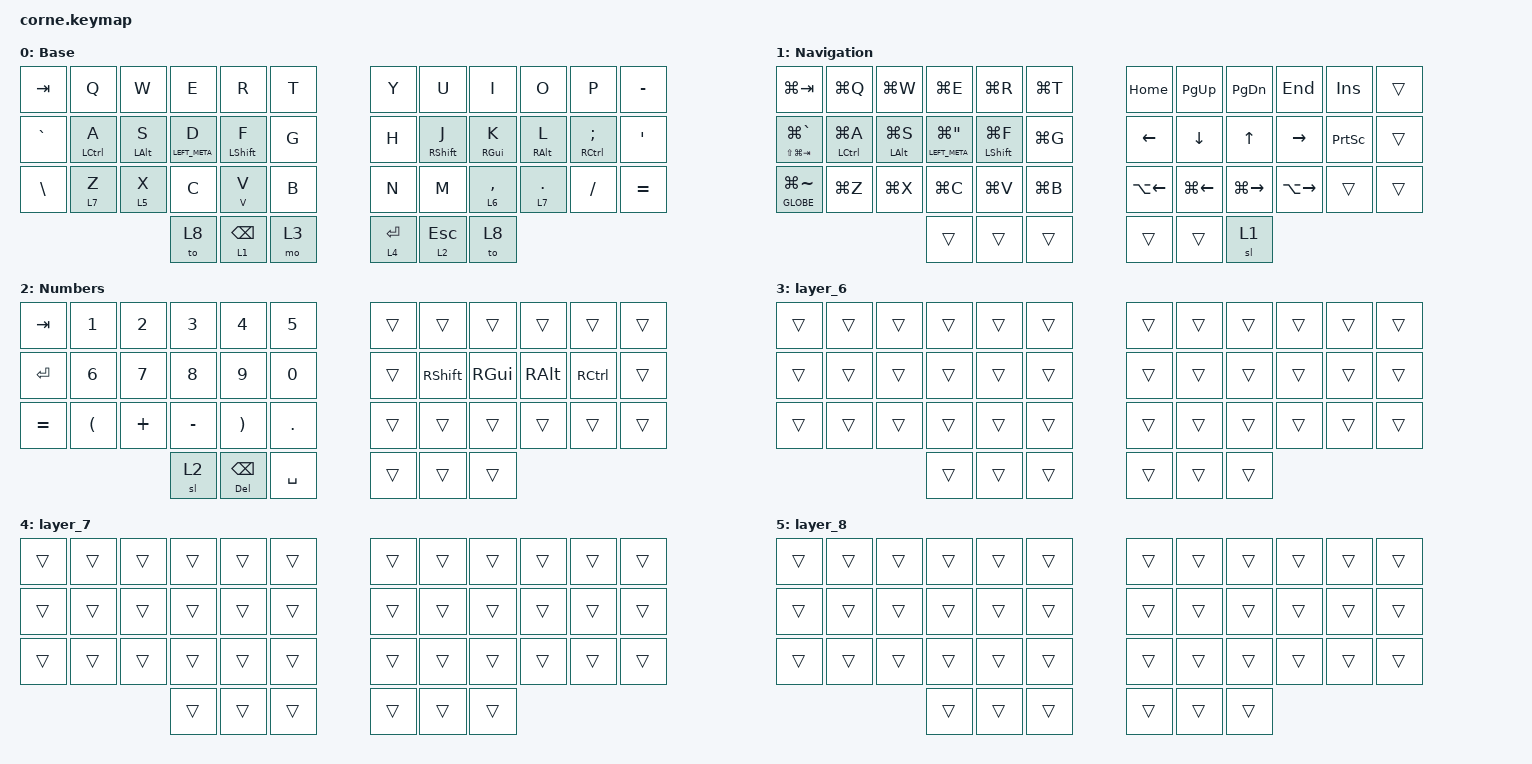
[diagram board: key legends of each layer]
/*
 * Copyright (c) 2020 The ZMK Contributors
 *
 * SPDX-License-Identifier: MIT
 */

#include <behaviors.dtsi>
#include <dt-bindings/zmk/keys.h>

/ {
    macros {
        as: as {
            compatible = "zmk,behavior-macro-one-param";
            #binding-cells = <1>;
            bindings =
                <&macro_press>,
                <&macro_param_1to1 &macro_param_1to2 &auto_shift MACRO_PLACEHOLDER MACRO_PLACEHOLDER>,
                <&macro_pause_for_release>,
                <&macro_release>,
                <&macro_param_1to1 &macro_param_1to2 &auto_shift MACRO_PLACEHOLDER MACRO_PLACEHOLDER>;

            label = "AS";
        };

        shifted: shifted {
            compatible = "zmk,behavior-macro-one-param";
            #binding-cells = <1>;
            bindings =
                <&macro_press>,
                <&kp LEFT_SHIFT>,
                <&macro_tap>,
                <&macro_param_1to1 &kp MACRO_PLACEHOLDER>,
                <&macro_release>,
                <&kp LEFT_SHIFT>;

            label = "SHIFTED";
        };
    };

    behaviors {
        hml: hml {
            compatible = "zmk,behavior-hold-tap";
            label = "HML";
            bindings = <&kp>, <&kp>;

            #binding-cells = <2>;
            hold-trigger-key-positions = <20 21 22 6 7 9 10 18 19 20 21 22 30 31 32 33 34 8 36 37 38 39 40 41>;
            tapping-term-ms = <200>;
            quick-tap-ms = <175>;
            require-prior-idle-ms = <150>;
            flavor = "balanced";
            hold-trigger-on-release;
        };

        hml_shift: hml_shift {
            compatible = "zmk,behavior-hold-tap";
            label = "HML_SHIFT";
            bindings = <&kp>, <&kp>;

            #binding-cells = <2>;
            tapping-term-ms = <200>;
            quick-tap-ms = <175>;
            flavor = "balanced";
            hold-trigger-on-release;
            hold-trigger-key-positions = <37 38 36 30 31 39 40 41 6 7 8 9 10 18 19 20 21 22 30 31 32 33 34 40 41>;
        };

        hmr: hmr {
            compatible = "zmk,behavior-hold-tap";
            label = "HMR";
            bindings = <&kp>, <&kp>;

            #binding-cells = <2>;
            tapping-term-ms = <200>;
            require-prior-idle-ms = <150>;
            quick-tap-ms = <175>;
            flavor = "balanced";
            hold-trigger-on-release;
            hold-trigger-key-positions = <1 2 3 4 5 13 14 15 16 17 25 26 28 29 36 37 38 27 39 40 41>;
        };

        hmr_shift: hmr_shift {
            compatible = "zmk,behavior-hold-tap";
            label = "HMR_SHIFT";
            bindings = <&kp>, <&kp>;

            #binding-cells = <2>;
            tapping-term-ms = <200>;
            quick-tap-ms = <175>;
            flavor = "balanced";
            hold-trigger-on-release;
            hold-trigger-key-positions = <37 38 36 39 40 41 40 41 1 5 13 14 15 16 17 25 26 27 28 29 36 37 38 2 3 4 40 41 40 41>;
        };

        auto_shift: auto_shift {
            compatible = "zmk,behavior-hold-tap";
            label = "AUTO_SHIFT";
            bindings = <&shifted>, <&kp>;

            #binding-cells = <2>;
            tapping-term-ms = <135>;
            quick-tap-ms = <0>;
            flavor = "tap-preferred";
        };

        bs_del: bs_del {
            compatible = "zmk,behavior-hold-tap";
            label = "BS_DEL";
            bindings = <&lt>, <&mt>;

            #binding-cells = <2>;
            tapping-term-ms = <175>;
            flavor = "tap-preferred";
        };
    };

    keymap {
        compatible = "zmk,keymap";

        base {
            // -----------------------------------------------------------------------------------------
            // |  TAB |  Q  |  W  |  E  |  R  |  T  |   |  Y  |  U   |  I  |  O  |  P  | BKSP |
            // | CTRL |  A  |  S  |  D  |  F  |  G  |   |  H  |  J   |  K  |  L  |  ;  |  '   |
            // | SHFT |  Z  |  X  |  C  |  V  |  B  |   |  N  |  M   |  ,  |  .  |  /  | ESC  |
            //                    | GUI | LWR | SPC |   | ENT | RSE  | ALT |

            display-name = "Base";
            bindings = <
&kp TAB        &kp Q         &kp W            &kp E             &kp R                    &kp T    &kp Y        &kp U               &kp I             &kp O             &kp P            &kp MINUS
&kp GRAVE      &hml LCTRL A  &hml LEFT_ALT S  &hml LEFT_META D  &hml_shift LEFT_SHIFT F  &kp G    &kp H        &hmr RIGHT_SHIFT J  &hmr RIGHT_GUI K  &hmr RIGHT_ALT L  &hmr RCTRL SEMI  &kp SQT
&kp BACKSLASH  &lt 7 Z       &lt 5 X          &kp C             &auto_shift V V          &kp B    &kp N        &kp M               &lt 6 COMMA       &lt 7 PERIOD      &kp FSLH         &kp EQUAL
                                              &to 8             &lt 1 BACKSPACE          &mo 3    &lt 4 ENTER  &lt 2 ESCAPE        &to 8
            >;
        };

        navigation {
            // -----------------------------------------------------------------------------------------
            // |  TAB |  1  |  2  |  3  |  4  |  5  |   |  6  |  7  |  8  |  9  |  0  | BKSP |
            // | BTCLR| BT1 | BT2 | BT3 | BT4 | BT5 |   | LFT | DWN |  UP | RGT |     |      |
            // | SHFT |     |     |     |     |     |   |     |     |     |     |     |      |
            //                    | GUI |     | SPC |   | ENT |     | ALT |

            display-name = "Navigation";
            bindings = <
&kp LG(TAB)                &kp LG(Q)         &kp LG(W)            &kp LG(E)               &kp LG(R)              &kp LG(T)    &kp HOME      &kp PAGE_UP   &kp PAGE_DOWN  &kp END        &kp INSERT       &trans
&mt LS(LG(TAB)) LG(GRAVE)  &hml LCTRL LG(A)  &hml LEFT_ALT LG(S)  &hml LEFT_META LG(DQT)  &hml LEFT_SHIFT LG(F)  &kp LG(G)    &kp LEFT      &kp DOWN      &kp UP         &kp RIGHT      &kp PRINTSCREEN  &trans
&mt GLOBE LG(TILDE)        &kp LG(Z)         &kp LG(X)            &kp LG(C)               &kp LG(V)              &kp LG(B)    &kp LA(LEFT)  &kp LG(LEFT)  &kp LG(RIGHT)  &kp LA(RIGHT)  &trans           &trans
                                                                  &trans                  &trans                 &trans       &trans        &trans        &sl 1
            >;
        };

        numbers {
            // -----------------------------------------------------------------------------------------
            // |  TAB |  !  |  @  |  #  |  $  |  %  |   |  ^  |  &  |  *  |  (  |  )  | BKSP |
            // | CTRL |     |     |     |     |     |   |  -  |  =  |  [  |  ]  |  \  |  `   |
            // | SHFT |     |     |     |     |     |   |  _  |  +  |  {  |  }  | "|" |  ~   |
            //                    | GUI |     | SPC |   | ENT |     | ALT |

            display-name = "Numbers";
            bindings = <
&kp TAB    &kp NUMBER_1          &kp NUMBER_2  &kp NUMBER_3  &kp NUMBER_4           &kp N5        &trans  &trans           &trans         &trans         &trans     &trans
&kp ENTER  &kp NUMBER_6          &kp N7        &kp N8        &kp N9                 &kp N0        &trans  &kp RIGHT_SHIFT  &kp RIGHT_GUI  &kp RIGHT_ALT  &kp RCTRL  &trans
&kp EQUAL  &kp LEFT_PARENTHESIS  &kp PLUS      &kp MINUS     &kp RIGHT_PARENTHESIS  &kp PERIOD    &trans  &trans           &trans         &trans         &trans     &trans
                                               &sl 2         &mt DELETE BACKSPACE   &kp SPACE     &trans  &trans           &trans
            >;
        };

        symbols { status = "reserved"; };

        extra_2 { status = "reserved"; };

        extra_3 { status = "reserved"; };

        layer_6 {
            bindings = <
&trans  &trans  &trans  &trans  &trans  &trans    &trans  &trans  &trans  &trans  &trans  &trans
&trans  &trans  &trans  &trans  &trans  &trans    &trans  &trans  &trans  &trans  &trans  &trans
&trans  &trans  &trans  &trans  &trans  &trans    &trans  &trans  &trans  &trans  &trans  &trans
                        &trans  &trans  &trans    &trans  &trans  &trans
            >;
        };

        layer_7 {
            bindings = <
&trans  &trans  &trans  &trans  &trans  &trans    &trans  &trans  &trans  &trans  &trans  &trans
&trans  &trans  &trans  &trans  &trans  &trans    &trans  &trans  &trans  &trans  &trans  &trans
&trans  &trans  &trans  &trans  &trans  &trans    &trans  &trans  &trans  &trans  &trans  &trans
                        &trans  &trans  &trans    &trans  &trans  &trans
            >;
        };

        layer_8 {
            bindings = <
&trans  &trans  &trans  &trans  &trans  &trans    &trans  &trans  &trans  &trans  &trans  &trans
&trans  &trans  &trans  &trans  &trans  &trans    &trans  &trans  &trans  &trans  &trans  &trans
&trans  &trans  &trans  &trans  &trans  &trans    &trans  &trans  &trans  &trans  &trans  &trans
                        &trans  &trans  &trans    &trans  &trans  &trans
            >;
        };
    };
};
